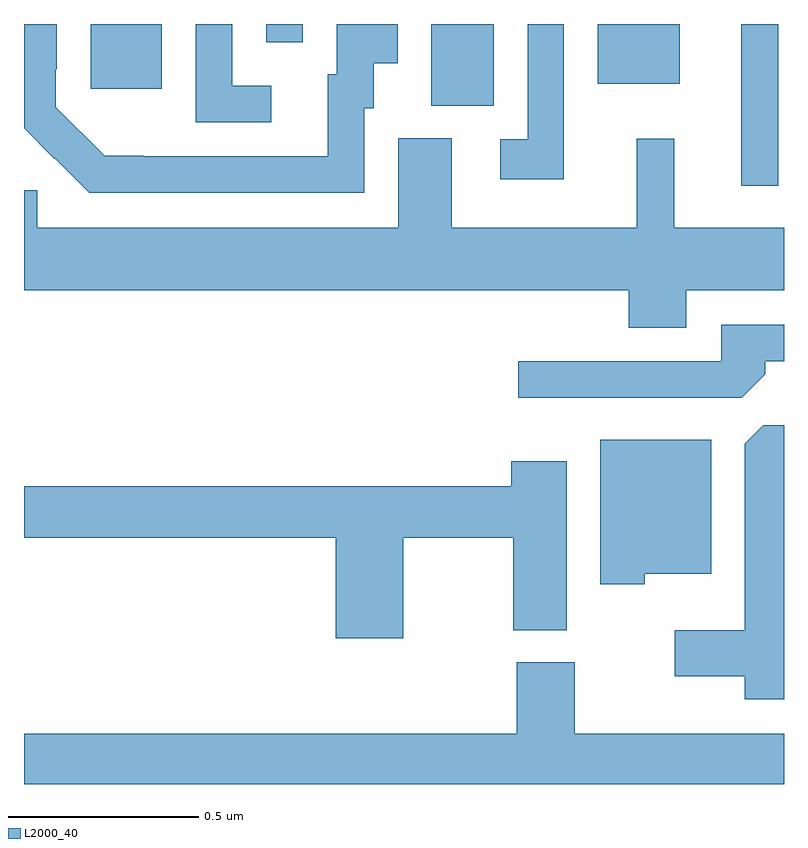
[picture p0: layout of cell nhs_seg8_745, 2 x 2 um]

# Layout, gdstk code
import gdstk
lib = gdstk.Library(unit=1e-6, precision=1e-09)
def R(c, l, rs):  # rectangles x0, y0, x1, y1
    for r in rs: c.add(gdstk.rectangle(r[:2], r[2:], *l))
def P(c, l, *ps):  # polygons
    for p in ps: c.add(gdstk.Polygon(p, *l))
L2000_40 = (2000, 40)

nhs_seg8_745 = lib.new_cell('nhs_seg8_745')
R(nhs_seg8_745, L2000_40, [(122.888,1083.474,122.985,1083.9), (122.072,1083.685,122.236,1083.9), (121.175,1083.729,121.363,1083.9), (122.51,1083.743,122.725,1083.9), (121.638,1083.852,121.734,1083.9)])
P(nhs_seg8_745, L2000_40, [(121.896,1083.678),(121.921,1083.678),(121.921,1083.797),(121.984,1083.797),(121.984,1083.9),(121.823,1083.9),(121.823,1083.768),(121.799,1083.768),(121.799,1083.552),(121.315,1083.552),(121.315,1083.553),(121.212,1083.553),(121.083,1083.681),(121.083,1083.781),(121.086,1083.781),(121.086,1083.9),(121,1083.9),(121,1083.626),(121.08,1083.546),(121.081,1083.547),(121.172,1083.456),(121.896,1083.456)],
  [(121.651,1083.738),(121.548,1083.738),(121.548,1083.9),(121.452,1083.9),(121.452,1083.642),(121.651,1083.642)],
  [(122.421,1083.9),(122.325,1083.9),(122.325,1083.597),(122.253,1083.597),(122.253,1083.492),(122.421,1083.492)],
  [(122.743,1083.2),(123,1083.2),(123,1083.364),(122.711,1083.364),(122.711,1083.598),(122.612,1083.598),(122.612,1083.364),(122.125,1083.364),(122.125,1083.6),(121.985,1083.6),(121.985,1083.364),(121.035,1083.364),(121.035,1083.462),(121,1083.462),(121,1083.2),(122.591,1083.2),(122.591,1083.101),(122.743,1083.101)],
  [(122.951,1082.978),(122.951,1083.012),(123,1083.012),(123,1083.108),(122.835,1083.108),(122.835,1083.012),(122.301,1083.012),(122.301,1082.916),(122.889,1082.916)],
  [(123,1082.844),(122.946,1082.844),(122.897,1082.795),(122.897,1082.305),(122.712,1082.305),(122.712,1082.183),(122.897,1082.183),(122.897,1082.123),(123,1082.123)],
  [(122.634,1082.453),(122.809,1082.453),(122.809,1082.806),(122.516,1082.806),(122.516,1082.426),(122.634,1082.426)],
  [(121.998,1082.548),(122.287,1082.548),(122.287,1082.305),(122.428,1082.305),(122.428,1082.749),(122.282,1082.749),(122.282,1082.684),(121,1082.684),(121,1082.548),(121.82,1082.548),(121.82,1082.283),(121.998,1082.283)],
  [(123,1082.032),(122.449,1082.032),(122.449,1082.22),(122.297,1082.22),(122.297,1082.032),(121,1082.032),(121,1081.9),(123,1081.9)])

lib.write_gds('nhs_seg8_745.gds')
